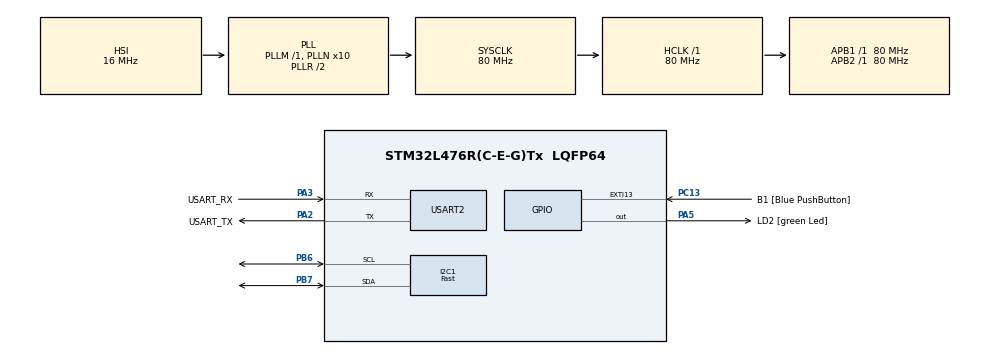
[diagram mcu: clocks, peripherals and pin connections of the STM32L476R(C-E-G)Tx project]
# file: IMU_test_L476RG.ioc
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I2C1.I2C_Speed_Mode=I2C_Fast
I2C1.Timing=0x00F12981
Mcu.Family=STM32L4
Mcu.Name=STM32L476R(C-E-G)Tx
Mcu.Package=LQFP64
NVIC.PriorityGroup=NVIC_PRIORITYGROUP_4
PA13\ (JTMS-SWDIO).GPIO_Label=TMS
PA13\ (JTMS-SWDIO).Mode=Serial_Wire
PA13\ (JTMS-SWDIO).Signal=SYS_JTMS-SWDIO
PA14\ (JTCK-SWCLK).GPIO_Label=TCK
PA14\ (JTCK-SWCLK).Mode=Serial_Wire
PA14\ (JTCK-SWCLK).Signal=SYS_JTCK-SWCLK
PA2.GPIO_Label=USART_TX
PA2.GPIO_Mode=GPIO_MODE_AF_PP
PA2.GPIO_PuPd=GPIO_NOPULL
PA2.GPIO_Speed=GPIO_SPEED_FREQ_VERY_HIGH
PA2.Mode=Asynchronous
PA2.Signal=USART2_TX
PA3.GPIO_Label=USART_RX
PA3.GPIO_Mode=GPIO_MODE_AF_PP
PA3.GPIO_PuPd=GPIO_NOPULL
PA3.GPIO_Speed=GPIO_SPEED_FREQ_VERY_HIGH
PA3.Mode=Asynchronous
PA3.Signal=USART2_RX
PA5.GPIO_Label=LD2 [green Led]
PA5.GPIO_ModeDefaultOutputPP=GPIO_MODE_OUTPUT_PP
PA5.GPIO_PuPd=GPIO_NOPULL
PA5.GPIO_Speed=GPIO_SPEED_FREQ_LOW
PA5.Signal=GPIO_Output
PB3\ (JTDO-TRACESWO).GPIO_Label=SWO
PB3\ (JTDO-TRACESWO).Signal=SYS_JTDO-SWO
PB6.Mode=I2C
PB6.Signal=I2C1_SCL
PB7.Mode=I2C
PB7.Signal=I2C1_SDA
PC13.GPIO_Label=B1 [Blue PushButton]
PC13.GPIO_ModeDefaultEXTI=GPIO_MODE_IT_FALLING
PC13.GPIO_PuPd=GPIO_NOPULL
PC13.Signal=GPXTI13
PC14-OSC32_IN\ (PC14).Mode=LSE-External-Oscillator
PC14-OSC32_IN\ (PC14).Signal=RCC_OSC32_IN
PC15-OSC32_OUT\ (PC15).Mode=LSE-External-Oscillator
PC15-OSC32_OUT\ (PC15).Signal=RCC_OSC32_OUT
PH0-OSC_IN\ (PH0).Signal=RCC_OSC_IN
PH1-OSC_OUT\ (PH1).Signal=RCC_OSC_OUT
ProjectManager.HeapSize=0x200
ProjectManager.StackSize=0x400
ProjectManager.TargetToolchain=STM32CubeIDE
RCC.ADCFreq_Value=64000000
RCC.AHBFreq_Value=80000000
RCC.APB1Freq_Value=80000000
RCC.APB1TimFreq_Value=80000000
RCC.APB2Freq_Value=80000000
RCC.APB2TimFreq_Value=80000000
RCC.CortexFreq_Value=80000000
RCC.HCLKFreq_Value=80000000
RCC.HSE_VALUE=8000000
RCC.HSI_VALUE=16000000
RCC.MSI_VALUE=4000000
RCC.PLLN=10
RCC.PLLSourceVirtual=RCC_PLLSOURCE_HSI
RCC.PREFETCH_ENABLE=1
RCC.SYSCLKFreq_VALUE=80000000
RCC.SYSCLKSource=RCC_SYSCLKSOURCE_PLLCLK
RCC.USBFreq_Value=64000000
RCC.VCOOutputFreq_Value=160000000
USART2.VirtualMode-Asynchronous=VM_ASYNC
board=NUCLEO-L476RG

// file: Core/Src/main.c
/* USER CODE BEGIN Header */
/**
  ******************************************************************************
  * @file           : main.c
  * @brief          : Main program body
  ******************************************************************************
  * @attention
  *
  * Copyright (c) 2026 STMicroelectronics.
  * All rights reserved.
  *
  * This software is licensed under terms that can be found in the LICENSE file
  * in the root directory of this software component.
  * If no LICENSE file comes with this software, it is provided AS-IS.
  *
  ******************************************************************************
  */
/* USER CODE END Header */
#include "main.h"

/* USER CODE BEGIN Includes */
#include <stdio.h>
#include <stdint.h>
#include "mpu9250.h"
/* USER CODE END Includes */

I2C_HandleTypeDef hi2c1;

UART_HandleTypeDef huart2;

void SystemClock_Config(void);
static void MX_GPIO_Init(void);
static void MX_I2C1_Init(void);
static void MX_USART2_UART_Init(void);

/* USER CODE BEGIN 0 */
int __io_putchar(int ch) {
    HAL_UART_Transmit(&huart2, (uint8_t *)&ch, 1, HAL_MAX_DELAY);
    return ch;
}

// Fonctions de liaison matérielle (Wrappers)
int8_t stm32_i2c_read(uint8_t dev_addr, uint8_t reg_addr, uint8_t *data, uint16_t len) {
    if (HAL_I2C_Mem_Read(&hi2c1, dev_addr << 1, reg_addr, 1, data, len, 10) == HAL_OK) {
        return 0;
    }
    return -1;
}

int8_t stm32_i2c_write(uint8_t dev_addr, uint8_t reg_addr, uint8_t *data, uint16_t len) {
    if (HAL_I2C_Mem_Write(&hi2c1, dev_addr << 1, reg_addr, 1, data, len, 10) == HAL_OK) {
        return 0;
    }
    return -1;
}

void stm32_delay(uint32_t ms) {
    HAL_Delay(ms);
}

// Instanciation du capteur
mpu9250_t imu;
/* USER CODE END 0 */

int main(void)
{

  /* MCU Configuration--------------------------------------------------------*/

  /* Reset of all peripherals, Initializes the Flash interface and the Systick. */
  HAL_Init();

  /* Configure the system clock */
  SystemClock_Config();

  /* Initialize all configured peripherals */
  MX_GPIO_Init();
  MX_I2C1_Init();
  MX_USART2_UART_Init();
  /* USER CODE BEGIN 2 */
  printf("Démarrage du système...\r\n");

  // Liaison des pointeurs de fonctions
  imu.i2c_addr = MPU9250_I2C_ADDR_AD0_0; // 0x68 (changez en AD0_1 si nécessaire)
  imu.i2c_read = stm32_i2c_read;
  imu.i2c_write = stm32_i2c_write;
  imu.delay_ms = stm32_delay;

  // Initialisation (Accel 8G, Gyro 2000DPS)
  if (mpu9250_init(&imu, ACCEL_FS_8G, GYRO_FS_2000DPS) == 0) {
      printf("MPU9250 & AK8963 initialisés. DEBUT DE CALIBRATION MAG...\r\n");
      printf("TOURNEZ LE CAPTEUR DANS TOUS LES SENS PENDANT 15 SECONDES !\r\n");

      mpu9250_calibrate_mag(&imu);

      printf("Calibration terminée. Offsets: X:%.2f Y:%.2f Z:%.2f\r\n",
             imu.mag_bias[0], imu.mag_bias[1], imu.mag_bias[2]);
  }
  /* USER CODE END 2 */

  /* Infinite loop */
  while (1)
  {

    /* USER CODE BEGIN 3 */
	  // Lecture des capteurs
	  // 1. Mise a jour des donnees brutes (Accel, Gyro, Mag)
	      if (mpu9250_read_accel_gyro(&imu) == 0 && mpu9250_read_mag(&imu) == 0) {

	          // 2. Calcul de l'attitude (Roll, Pitch, Yaw)
	          mpu9250_compute_attitude(&imu);

	          // 3. Affichage global pour le developpeur
	          printf("--- DATA ---\r\n");
	          printf("ACC (g)   : X=%5.2f | Y=%5.2f | Z=%5.2f\r\n", imu.accel.x, imu.accel.y, imu.accel.z);
	          printf("GYR (dps) : X=%5.0f | Y=%5.0f | Z=%5.0f\r\n", imu.gyro.x, imu.gyro.y, imu.gyro.z);
	          printf("ATT (deg) : Roll=%5.1f | Pitch=%5.1f | Yaw=%5.1f\r\n\r\n", imu.attitude.roll, imu.attitude.pitch, imu.attitude.heading);

	      } else {
	          printf("Erreur de communication I2C.\r\n");
	      }

	      HAL_Delay(50); // Ajustable selon le besoin
	    }
  /* USER CODE END 3 */
}

void SystemClock_Config(void)
{
  RCC_OscInitTypeDef RCC_OscInitStruct = {0};
  RCC_ClkInitTypeDef RCC_ClkInitStruct = {0};

  /** Configure the main internal regulator output voltage
  */
  if (HAL_PWREx_ControlVoltageScaling(PWR_REGULATOR_VOLTAGE_SCALE1) != HAL_OK)
  {
    Error_Handler();
  }

  /** Initializes the RCC Oscillators according to the specified parameters
  * in the RCC_OscInitTypeDef structure.
  */
  RCC_OscInitStruct.OscillatorType = RCC_OSCILLATORTYPE_HSI;
  RCC_OscInitStruct.HSIState = RCC_HSI_ON;
  RCC_OscInitStruct.HSICalibrationValue = RCC_HSICALIBRATION_DEFAULT;
  RCC_OscInitStruct.PLL.PLLState = RCC_PLL_ON;
  RCC_OscInitStruct.PLL.PLLSource = RCC_PLLSOURCE_HSI;
  RCC_OscInitStruct.PLL.PLLM = 1;
  RCC_OscInitStruct.PLL.PLLN = 10;
  RCC_OscInitStruct.PLL.PLLP = RCC_PLLP_DIV7;
  RCC_OscInitStruct.PLL.PLLQ = RCC_PLLQ_DIV2;
  RCC_OscInitStruct.PLL.PLLR = RCC_PLLR_DIV2;
  if (HAL_RCC_OscConfig(&RCC_OscInitStruct) != HAL_OK)
  {
    Error_Handler();
  }

  /** Initializes the CPU, AHB and APB buses clocks
  */
  RCC_ClkInitStruct.ClockType = RCC_CLOCKTYPE_HCLK|RCC_CLOCKTYPE_SYSCLK
                              |RCC_CLOCKTYPE_PCLK1|RCC_CLOCKTYPE_PCLK2;
  RCC_ClkInitStruct.SYSCLKSource = RCC_SYSCLKSOURCE_PLLCLK;
  RCC_ClkInitStruct.AHBCLKDivider = RCC_SYSCLK_DIV1;
  RCC_ClkInitStruct.APB1CLKDivider = RCC_HCLK_DIV1;
  RCC_ClkInitStruct.APB2CLKDivider = RCC_HCLK_DIV1;

  if (HAL_RCC_ClockConfig(&RCC_ClkInitStruct, FLASH_LATENCY_4) != HAL_OK)
  {
    Error_Handler();
  }
}

static void MX_I2C1_Init(void)
{

  hi2c1.Instance = I2C1;
  hi2c1.Init.Timing = 0x00F12981;
  hi2c1.Init.OwnAddress1 = 0;
  hi2c1.Init.AddressingMode = I2C_ADDRESSINGMODE_7BIT;
  hi2c1.Init.DualAddressMode = I2C_DUALADDRESS_DISABLE;
  hi2c1.Init.OwnAddress2 = 0;
  hi2c1.Init.OwnAddress2Masks = I2C_OA2_NOMASK;
  hi2c1.Init.GeneralCallMode = I2C_GENERALCALL_DISABLE;
  hi2c1.Init.NoStretchMode = I2C_NOSTRETCH_DISABLE;
  if (HAL_I2C_Init(&hi2c1) != HAL_OK)
  {
    Error_Handler();
  }

  /** Configure Analogue filter
  */
  if (HAL_I2CEx_ConfigAnalogFilter(&hi2c1, I2C_ANALOGFILTER_ENABLE) != HAL_OK)
  {
    Error_Handler();
  }

  /** Configure Digital filter
  */
  if (HAL_I2CEx_ConfigDigitalFilter(&hi2c1, 0) != HAL_OK)
  {
    Error_Handler();
  }

}

static void MX_USART2_UART_Init(void)
{

  huart2.Instance = USART2;
  huart2.Init.BaudRate = 115200;
  huart2.Init.WordLength = UART_WORDLENGTH_8B;
  huart2.Init.StopBits = UART_STOPBITS_1;
  huart2.Init.Parity = UART_PARITY_NONE;
  huart2.Init.Mode = UART_MODE_TX_RX;
  huart2.Init.HwFlowCtl = UART_HWCONTROL_NONE;
  huart2.Init.OverSampling = UART_OVERSAMPLING_16;
  huart2.Init.OneBitSampling = UART_ONE_BIT_SAMPLE_DISABLE;
  huart2.AdvancedInit.AdvFeatureInit = UART_ADVFEATURE_NO_INIT;
  if (HAL_UART_Init(&huart2) != HAL_OK)
  {
    Error_Handler();
  }

}

static void MX_GPIO_Init(void)
{
  GPIO_InitTypeDef GPIO_InitStruct = {0};

  /* GPIO Ports Clock Enable */
  __HAL_RCC_GPIOC_CLK_ENABLE();
  __HAL_RCC_GPIOH_CLK_ENABLE();
  __HAL_RCC_GPIOA_CLK_ENABLE();
  __HAL_RCC_GPIOB_CLK_ENABLE();

  /*Configure GPIO pin Output Level */
  HAL_GPIO_WritePin(LD2_GPIO_Port, LD2_Pin, GPIO_PIN_RESET);

  /*Configure GPIO pin : B1_Pin */
  GPIO_InitStruct.Pin = B1_Pin;
  GPIO_InitStruct.Mode = GPIO_MODE_IT_FALLING;
  GPIO_InitStruct.Pull = GPIO_NOPULL;
  HAL_GPIO_Init(B1_GPIO_Port, &GPIO_InitStruct);

  /*Configure GPIO pin : LD2_Pin */
  GPIO_InitStruct.Pin = LD2_Pin;
  GPIO_InitStruct.Mode = GPIO_MODE_OUTPUT_PP;
  GPIO_InitStruct.Pull = GPIO_NOPULL;
  GPIO_InitStruct.Speed = GPIO_SPEED_FREQ_LOW;
  HAL_GPIO_Init(LD2_GPIO_Port, &GPIO_InitStruct);

}

void Error_Handler(void)
{
  __disable_irq();
  while (1)
  {
  }
}
